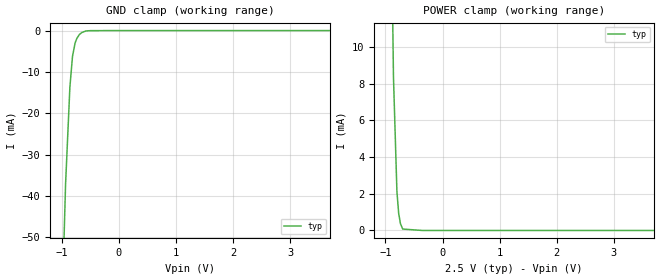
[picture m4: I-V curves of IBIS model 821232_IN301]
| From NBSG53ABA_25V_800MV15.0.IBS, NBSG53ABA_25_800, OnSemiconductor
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| COPYRIGHT(C) MENTOR GRAPHICS CORPORATION 2002 ALL
| RIGHTS RESERVED. THIS WORK CONTAINS PROPRIETARY
| INFORMATION WHICH IS THE PROPERTY OF MENTOR GRAPHICS
| CORPORATION OR ITS LICENSORS. USE OF THESE MATERIALS
| IS SUBJECT TO THE TERMS BELOW.
| USE: YOU MAY USE IBIS MODELS SOLELY FOR DEVELOPING
| PRINTED CIRCUIT BOARD DESIGNS. NO OTHER USE OR
| DISTRIBUTION OF THESE MATERIALS IS PERMITTED.
| Model Application Version 1.89 2/18/99.
[Model] 821232_IN301
Model_type Input_ECL
Vinl = 1.100V
Vinh = 1.250V
C_comp 1.000pF NA NA
| variable typ   min   max
[Voltage Range] 2.500V NA NA
[GND Clamp Reference] 0.000V NA NA
[POWER Clamp Reference] 2.500V NA NA
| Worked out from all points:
|   GND clamp passes 1 mA (typ) near -0.70 V on its own axis
|   POWER clamp passes 1 mA (typ) near -0.77 V on its own axis
[GND Clamp]
-2.5V     -805.5mA   NA         NA
-932.3mV  -37.19mA   NA         NA
-856.5mV  -13.63mA   NA         NA
-810.9mV  -6.189mA   NA         NA
-765.3mV  -2.93mA    NA         NA
-734.9mV  -1.828mA   NA         NA
-689.2mV  -862.9uA   NA         NA
-643.6mV  -366.1uA   NA         NA
-572.6mV  -8.847uA   NA         NA
-214.1mV  77.26uA    NA         NA
5V        77.26uA    NA         NA
[POWER Clamp]
-2.5V     398.9mA    NA         NA
-859.6mV  8.375mA    NA         NA
-798.9mV  2.115mA    NA         NA
-768.4mV  939.6uA    NA         NA
-737.7mV  374.9uA    NA         NA
-697.2mV  76.95uA    NA         NA
-348.6mV  0A         NA         NA
5V        0A         NA         NA
